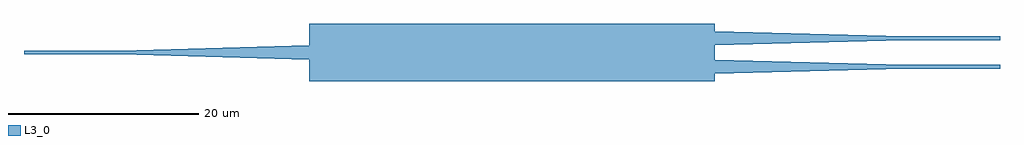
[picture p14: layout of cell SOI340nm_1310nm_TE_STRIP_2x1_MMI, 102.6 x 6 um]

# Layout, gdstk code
import gdstk
lib = gdstk.Library(unit=1e-6, precision=1e-09)
def R(c, l, rs):  # rectangles x0, y0, x1, y1
    for r in rs: c.add(gdstk.rectangle(r[:2], r[2:], *l))
def P(c, l, *ps):  # polygons
    for p in ps: c.add(gdstk.Polygon(p, *l))
L3_0 = (3, 0)

soi340nm_1310nm_te_strip = lib.new_cell('SOI340nm_1310nm_TE_STRIP_2x1_MMI')
R(soi340nm_1310nm_te_strip, L3_0, [(-21.3,-3,21.3,3), (41.3,-1.705,51.3,-1.305), (-51.3,-0.2,-41.3,0.2), (41.3,1.305,51.3,1.705)])
P(soi340nm_1310nm_te_strip, L3_0, [(-21.3,-0.75),(-41.3,-0.2),(-41.3,0.2),(-21.3,0.75)],
  [(21.3,0.755),(21.3,2.255),(41.3,1.705),(41.3,1.305)],
  [(21.3,-2.255),(21.3,-0.755),(41.3,-1.305),(41.3,-1.705)])

lib.write_gds('SOI340nm_1310nm_TE_STRIP_2x1_MMI.gds')
